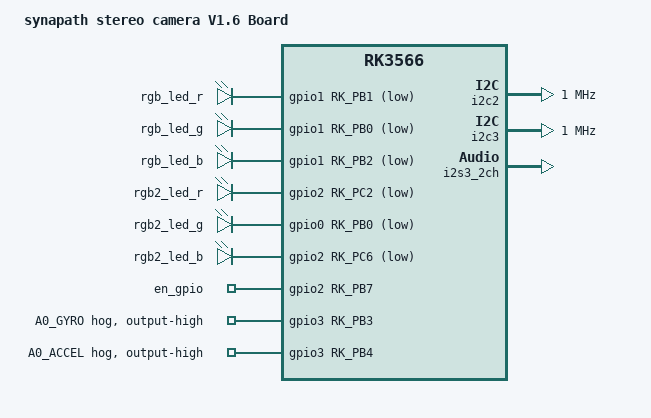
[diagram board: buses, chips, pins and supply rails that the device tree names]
// SPDX-License-Identifier: (GPL-2.0+ OR MIT)
/*
 * Copyright (c) 2020 Rockchip Electronics Co., Ltd.
 *
 */

 /*********************************************************************
 *           立创开发板不靠卖板赚钱，以培养中国工程师为己任
 *         泰山派软硬件资料与相关扩展板软硬件资料官网全部开源
 *                      开发板官网：www.lckfb.com
 *                     立创论坛：oshwhub.com/forum
 *            关注B站：【立创开发板】，掌握我们的最新动态！
 *********************************************************************
 * 文件名：tspi-rk3566-user-v10.dtsi
 * 描述：用户自定义层
 * 更新:
 * 时间          作者           联系           说明
 * 2023-09-13   吴才成    1378913492@qq.com   v1.0.0
 *********************************************************************/
/dts-v1/;

#include <dt-bindings/gpio/gpio.h>
#include <dt-bindings/display/media-bus-format.h>
#include <dt-bindings/pinctrl/rockchip.h>
#include "rk3566.dtsi"
#include <dt-bindings/display/rockchip_vop.h>


//tspi核心配置层，这里是几乎后期不需要怎么改动
#include "tspi-rk3566-core-v10.dtsi"

/ {
	model = "synapath stereo camera V1.6 Board";
	compatible = "synapath,stereo-v1.6", "rockchip,rk3566";

	chosen: chosen {
		// EMMC
		bootargs = "earlycon=uart8250,mmio32,0xfe660000 console=ttyFIQ0 root=PARTUUID=614e0000-0000 rw rootwait";
		// bootargs = "earlycon=uart8250,mmio32,0xfe660000 console=ttyFIQ0 root=/dev/mmcblk0p4 cma=512M rw rootwait";

		// bootargs = "earlycon=uart8250,mmio32,0xfe660000 console=ttyFIQ0 root=/dev/mmcblk0p4 rootfstype=squashfs ro rootwait cma=512M";
		// SD
		// bootargs = "earlycon=uart8250,mmio32,0xfe660000 console=ttyFIQ0 root=/dev/mmcblk1p4 cma=512M rw rootwait";
	};
	board-info {
		project-name = "stereo";
		pcb_version = "1.6";
		manufacturer = "SYNAPATH AI";
	};

	leds: leds {
		compatible = "gpio-leds";
		// 自制版配置
		rgb_led_r: rgb-led-r {
			gpios = <&gpio1 RK_PB1 GPIO_ACTIVE_LOW>;
			linux,default-trigger = "none";
			default-state = "off";
			// linux,default-trigger = "timer";
			// linux,delay-reg = <0>;  		// 延时注册
			// linux,blink-delay-on = <50>;
			// linux,blink-delay-off = <50>;
		};
		rgb_led_g: rgb-led-g {
			gpios = <&gpio1 RK_PB0 GPIO_ACTIVE_LOW>;
			linux,default-trigger = "none";
			default-state = "off";
			// linux,default-trigger = "timer";
			// linux,delay-reg = <0>;  		// 延时注册
			// linux,blink-delay-on = <100>;
			// linux,blink-delay-off = <100>;
		};
		rgb_led_b: rgb-led-b {
			gpios = <&gpio1 RK_PB2 GPIO_ACTIVE_LOW>;
			linux,default-trigger = "none";
			default-state = "off";
			// linux,default-trigger = "timer";
			// linux,delay-reg = <0>;  		// 延时注册
			// linux,blink-delay-on = <200>;
			// linux,blink-delay-off = <200>;
		};

		rgb2_led_r: rgb2-led-r {
			gpios = <&gpio2 RK_PC2 GPIO_ACTIVE_LOW>;
			// linux,default-trigger = "none";
			// default-state = "off";
			linux,default-trigger = "timer";
			linux,delay-reg = <0>;  		// 延时注册
			linux,blink-delay-on = <50>;
			linux,blink-delay-off = <50>;
		};
		rgb2_led_g: rgb2-led-g {
			gpios = <&gpio0 RK_PB0 GPIO_ACTIVE_LOW>;
			linux,default-trigger = "none";
			default-state = "off";
			// linux,default-trigger = "timer";
			// linux,delay-reg = <0>;  		// 延时注册
			// linux,blink-delay-on = <100>;
			// linux,blink-delay-off = <100>;
		};
		rgb2_led_b: rgb2-led-b {
			gpios = <&gpio2 RK_PC6 GPIO_ACTIVE_LOW>;
			// linux,default-trigger = "none";
			// default-state = "on";
			linux,default-trigger = "timer";
			linux,delay-reg = <0>;  		// 延时注册
			linux,blink-delay-on = <200>;
			linux,blink-delay-off = <200>;
		};

		wireless_bluetooth { //与en_gpio引脚冲突 需关闭
			status = "disabled";
		};
		en_gpio: en_gpio {

			gpios = <&gpio2 RK_PB7 GPIO_ACTIVE_HIGH>;
			linux,default-trigger = "none";
			default-state = "on";
		};
	};

	/*
	 * PC5 作为可配置输入按键，用户态可通过 /dev/input/eventX 监听事件。
	 * 后续若换引脚，仅需修改这里的 gpios/pinctrl，不需要改应用代码。
	 */
	// gpio_keys: gpio-keys {
	// 	compatible = "gpio-keys";
	// 	pinctrl-names = "default";
	// 	pinctrl-0 = <&pc5_mode_key_pin>;

	// 	mode_key: mode-key {
	// 		label = "mode-key";
	// 		gpios = <&gpio2 RK_PC5 GPIO_ACTIVE_LOW>;
	// 		linux,code = <KEY_F13>;
	// 		debounce-interval = <10>;
	// 		wakeup-source;
	// 	};
	// };

		/*
	 * INMP441 I2S 数字麦克风 → 录音声卡（Linux 下可用 arecord / PulsePipe 等直接采集）
	 *
	 * 硬件接线（模块丝印 → SoC I2S3 M0）:
	 *   VDD → 3.3 V    GND → GND
	 *   SCK → I2S3_SCLK_M0 (BCLK)    WS → I2S3_LRCK_M0 (LRCK)
	 *   SD  → I2S3_SDI_M0（麦克风数字输出接 SoC 接收）
	 *   L/R → GND 为左声道时隙；接 VDD 为右声道时隙
	 *   I2S3_MCLK_M0：建议在 pinctrl 中使能（模块常见 breakout 无 MCLK 引脚时可不接芯片侧）
	 *   I2S3_SDO_M0：纯麦克风录音可不连接
	 *
	 * 注意：若启用 core 中的 audiopwmout-diff（I2S3 + dig_acodec），与本节点共用 I2S3 会冲突。
	 */
	 inmp441_codec: inmp441-codec {
		compatible = "rockchip,dummy-codec";
		#sound-dai-cells = <0>;
	};

	inmp441_sound: inmp441-sound {
		status = "okay";
		compatible = "simple-audio-card";
		simple-audio-card,name = "INMP441";
		simple-audio-card,format = "i2s";
		simple-audio-card,mclk-fs = <256>;
		/* SoC 输出 BCLK/LRCK/MCLK，INMP441 作 I2S slave */
		simple-audio-card,bitclock-master = <&inmp441_cpu>;
		simple-audio-card,frame-master = <&inmp441_cpu>;
		inmp441_cpu: simple-audio-card,cpu {
			sound-dai = <&i2s3_2ch>;
		};
		simple-audio-card,codec {
			sound-dai = <&inmp441_codec>;
		};
	};

};

//用户三色灯
&leds {
	status = "okay";
	// status = "disable";
};


&i2c2 {
	status = "okay";
	clock-frequency = <1000000>;
	pinctrl-names = "default";
	pinctrl-0 = <&i2c2m1_xfer>;
};



&i2c3 {
	status = "okay";
	clock-frequency = <1000000>;
	pinctrl-names = "default";
	pinctrl-0 = <&i2c3m1_xfer>;
};

/*
 * BMI088 等 I2C 器件地址选择：A0 需为低（下拉）。
 * 原理图网络 A0_GYRO-3B3、A0_ACCEL-3B4 -> GPIO3_PB3、GPIO3_PB4
 */
&gpio3 {
	a0_gyro: a0-gyro {
		gpio-hog;
		gpios = <RK_PB3 GPIO_ACTIVE_HIGH>;
		line-name = "A0_GYRO";
		output-high;
	};

	a0_accel: a0-accel {
		gpio-hog;
		gpios = <RK_PB4 GPIO_ACTIVE_HIGH>;
		line-name = "A0_ACCEL";
		output-high;
	};
};

/* I2S3 M0：INMP441 双工引脚组（SDO 可悬空不接） */
&i2s3_2ch {
	status = "okay";
	pinctrl-names = "default";
	pinctrl-0 = <&i2s3m0_mclk
		     &i2s3m0_sclk
		     &i2s3m0_lrck
		     &i2s3m0_sdi
		     &i2s3m0_sdo>;
	rockchip,clk-trcm = <1>;
};

// &pinctrl {
// 	mode-key-pins {
// 		pc5_mode_key_pin: pc5-mode-key-pin {
// 			rockchip,pins = <2 RK_PC5 RK_FUNC_GPIO &pcfg_pull_up>;
// 		};
// 	};
// };
